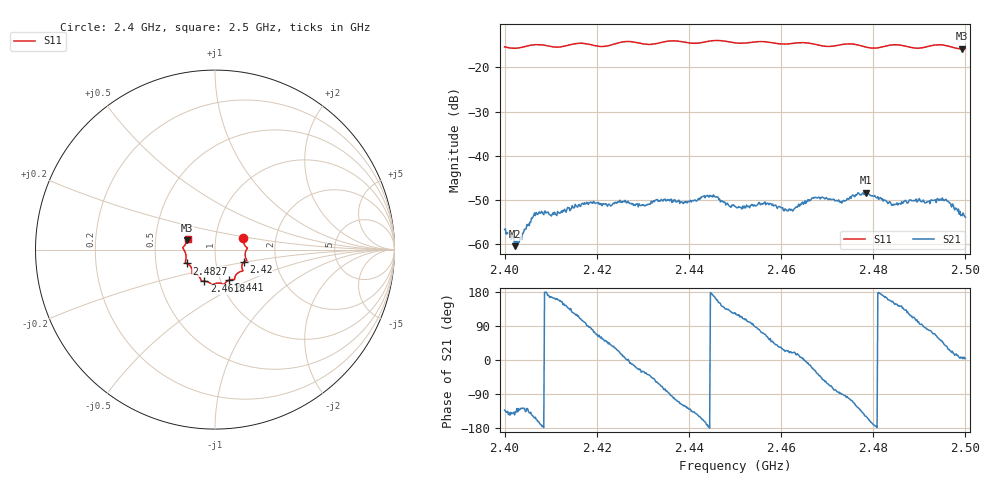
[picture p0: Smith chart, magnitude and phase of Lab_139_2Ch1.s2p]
# Hz S RI R 50
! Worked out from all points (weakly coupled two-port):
!   601 points, 2.4 GHz to 2.5 GHz, reference 50 ohm
!   highest |S21| = -48.33 dB at 2.4785 GHz (marker M1); lowest = -60.4 dB at 2.4022 GHz (marker M2)
!   lowest |S11| = -15.8 dB at 2.4993 GHz (marker M3), VSWR 1.39, Z = 36.5 + j3.83 ohm
!   |S11| at or under -10 dB: start of sweep to end of sweep
!   S12 and S22 are empty: the file has one direction only
!   S11 on the Smith chart (normalised r, x): 2.4 GHz: 1.36, +0.18; 2.42 GHz: 1.36, -0.20; 2.441 GHz: 1.10, -0.39; 2.4618 GHz: 0.84, -0.30; 2.4827 GHz: 0.72, -0.12; 2.5 GHz: 0.73, +0.09
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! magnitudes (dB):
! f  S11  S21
! 2.4 GHz  -15.4  -56.6
! 2.4022 GHz  -15.7  -60.4
! 2.4032 GHz  -15.6  -59.6
! 2.407 GHz  -14.9  -53.0
! 2.4117 GHz  -15.4  -52.9
! 2.4167 GHz  -14.5  -50.9
! 2.42 GHz  -15.2  -50.6
! 2.43 GHz  -14.7  -51.2
! 2.4333 GHz  -14.5  -50.3
! 2.441 GHz  -14.6  -50.2
! 2.445 GHz  -14.0  -49.0
! 2.45 GHz  -14.4  -51.5
! 2.4567 GHz  -14.2  -51.1
! 2.4618 GHz  -14.6  -52.0
! 2.4667 GHz  -14.6  -49.6
! 2.4732 GHz  -14.8  -50.7
! 2.4785 GHz  -15.4  -48.3
! 2.4827 GHz  -15.2  -50.1
! 2.4833 GHz  -15.0  -50.7
! 2.4953 GHz  -15.0  -50.0
! 2.4993 GHz  -15.8  -53.5
! 2.5 GHz  -15.7  -53.9
